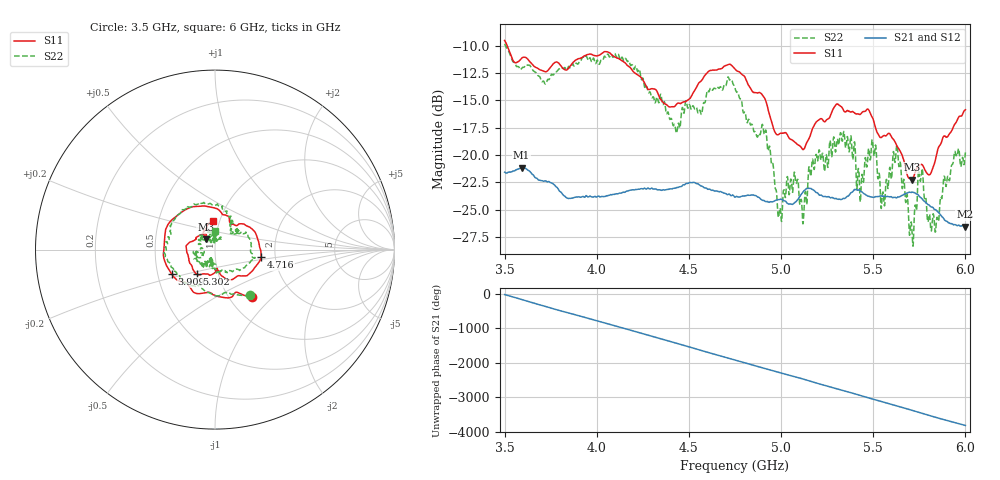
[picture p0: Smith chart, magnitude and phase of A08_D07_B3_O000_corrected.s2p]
! Created with skrf 1.9.0 (http://scikit-rf.org).
# Hz S RI R 50.0
!freq ReS11 ImS11 ReS21 ImS21 ReS12 ImS12 ReS22 ImS22
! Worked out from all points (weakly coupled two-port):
!   1601 points, 3.5 GHz to 6 GHz, reference 50 ohm
!   highest |S21| = -21.17 dB at 3.592 GHz (marker M1); lowest = -26.6 dB at 5.997 GHz (marker M2)
!   lowest |S11| = -22.3 dB at 5.709 GHz (marker M3), VSWR 1.17, Z = 44.9 + j5.22 ohm
!   |S11| at or under -10 dB: 3.514 GHz to end of sweep
!   |S22| runs from -28.4 to -9.8 dB; largest |S21 - S12| = 0.001
!   S11 on the Smith chart (normalised r, x): 3.5 GHz: 1.28, -0.75; 3.909 GHz: 0.59, -0.17; 4.716 GHz: 1.68, -0.15; 5.302 GHz: 0.79, -0.22; 6 GHz: 0.93, +0.31
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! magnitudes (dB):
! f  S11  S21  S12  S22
! 3.5 GHz  -9.5  -21.6  -21.6  -9.8
! 3.592 GHz  -11.2  -21.2  -21.2  -12.1
! 3.909 GHz  -11.2  -23.9  -23.8  -11.3
! 3.917 GHz  -11.1  -23.8  -23.8  -11.2
! 4.334 GHz  -14.5  -23.2  -23.2  -15.2
! 4.439 GHz  -15.3  -23.0  -22.9  -17.4
! 4.716 GHz  -11.7  -23.6  -23.7  -12.9
! 4.75 GHz  -12.1  -23.9  -23.8  -13.9
! 4.909 GHz  -14.8  -24.2  -24.2  -18.1
! 4.994 GHz  -18.0  -24.1  -24.0  -25.0
! 5.08 GHz  -18.9  -24.3  -24.2  -22.5
! 5.128 GHz  -19.3  -23.2  -23.2  -23.9
! 5.167 GHz  -17.7  -23.1  -23.1  -20.8
! 5.302 GHz  -15.4  -24.0  -24.0  -18.8
! 5.552 GHz  -18.3  -23.8  -23.7  -23.4
! 5.584 GHz  -18.0  -23.8  -23.8  -22.2
! 5.636 GHz  -19.4  -23.8  -23.8  -20.5
! 5.709 GHz  -22.3  -23.4  -23.4  -26.7
! 5.755 GHz  -20.9  -23.9  -23.8  -22.4
! 5.844 GHz  -19.9  -25.1  -25.1  -26.0
! 5.997 GHz  -15.9  -26.6  -26.5  -20.4
! 6 GHz  -15.9  -26.6  -26.5  -19.8
